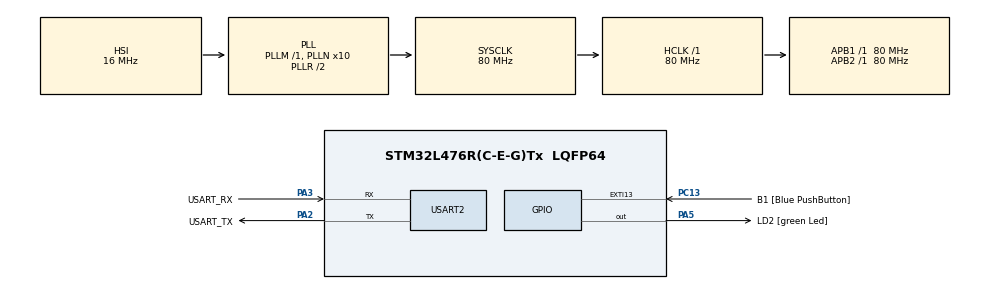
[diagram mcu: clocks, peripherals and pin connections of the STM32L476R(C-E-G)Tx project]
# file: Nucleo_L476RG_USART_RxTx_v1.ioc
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Mcu.Family=STM32L4
RCC.MSI_VALUE=4000000
RCC.PLLSourceVirtual=RCC_PLLSOURCE_HSI
PA14\ (JTCK-SWCLK).Mode=Serial_Wire
PA2.GPIO_PuPd=GPIO_NOPULL
RCC.CortexFreq_Value=80000000
PH0-OSC_IN\ (PH0).Signal=RCC_OSC_IN
PC13.Signal=GPXTI13
PA3.GPIO_PuPd=GPIO_NOPULL
PA2.GPIO_Speed=GPIO_SPEED_FREQ_VERY_HIGH
PC15-OSC32_OUT\ (PC15).Signal=RCC_OSC32_OUT
PC15-OSC32_OUT\ (PC15).Mode=LSE-External-Oscillator
PA14\ (JTCK-SWCLK).GPIO_Label=TCK
PB3\ (JTDO-TRACESWO).GPIO_Label=SWO
PC13.GPIO_Label=B1 [Blue PushButton]
PA3.GPIO_Speed=GPIO_SPEED_FREQ_VERY_HIGH
NVIC.USART2_IRQn=true\:0\:0\:false\:false\:true\:true\:true
PH1-OSC_OUT\ (PH1).Signal=RCC_OSC_OUT
RCC.SYSCLKSource=RCC_SYSCLKSOURCE_PLLCLK
ProjectManager.StackSize=0x400
PB3\ (JTDO-TRACESWO).Signal=SYS_JTDO-SWO
PC14-OSC32_IN\ (PC14).Mode=LSE-External-Oscillator
PA14\ (JTCK-SWCLK).Signal=SYS_JTCK-SWCLK
PA3.Mode=Asynchronous
ProjectManager.TargetToolchain=STM32CubeIDE
PA3.GPIO_Mode=GPIO_MODE_AF_PP
RCC.HCLKFreq_Value=80000000
RCC.APB2TimFreq_Value=80000000
RCC.USBFreq_Value=64000000
RCC.AHBFreq_Value=80000000
RCC.PREFETCH_ENABLE=1
PA5.Signal=GPIO_Output
RCC.HSE_VALUE=8000000
board=NUCLEO-L476RG
USART2.VirtualMode-Asynchronous=VM_ASYNC
RCC.VCOOutputFreq_Value=160000000
RCC.APB2Freq_Value=80000000
PA5.GPIO_ModeDefaultOutputPP=GPIO_MODE_OUTPUT_PP
PA13\ (JTMS-SWDIO).GPIO_Label=TMS
PA5.GPIO_PuPd=GPIO_NOPULL
RCC.ADCFreq_Value=64000000
PC13.GPIO_PuPd=GPIO_NOPULL
Mcu.Name=STM32L476R(C-E-G)Tx
PA2.Signal=USART2_TX
PA13\ (JTMS-SWDIO).Mode=Serial_Wire
RCC.SYSCLKFreq_VALUE=80000000
Mcu.Package=LQFP64
PA5.GPIO_Label=LD2 [green Led]
PC13.GPIO_ModeDefaultEXTI=GPIO_MODE_IT_FALLING
PC14-OSC32_IN\ (PC14).Signal=RCC_OSC32_IN
PA2.GPIO_Label=USART_TX
ProjectManager.HeapSize=0x200
RCC.HSI_VALUE=16000000
PA5.GPIO_Speed=GPIO_SPEED_FREQ_LOW
NVIC.PriorityGroup=NVIC_PRIORITYGROUP_4
RCC.PLLN=10
RCC.APB1TimFreq_Value=80000000
PA2.Mode=Asynchronous
PA13\ (JTMS-SWDIO).Signal=SYS_JTMS-SWDIO
RCC.APB1Freq_Value=80000000
PA3.GPIO_Label=USART_RX
PA3.Signal=USART2_RX
PA2.GPIO_Mode=GPIO_MODE_AF_PP

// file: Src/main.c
/* USER CODE BEGIN Header */
/**
 ******************************************************************************
 * @file           : main.c
 * @brief          : Main program body
 ******************************************************************************
 * @attention
 *
 * <h2><center>&copy; Copyright (c) 2020 STMicroelectronics.
 * All rights reserved.</center></h2>
 *
 * This software component is licensed by ST under BSD 3-Clause license,
 * the "License"; You may not use this file except in compliance with the
 * License. You may obtain a copy of the License at:
 *                        opensource.org/licenses/BSD-3-Clause
 *
 ******************************************************************************
 */
/* USER CODE END Header */
#include "main.h"

/* USER CODE BEGIN Includes */

#include <string.h>
#include <stdlib.h>
#include <stdio.h>
/* USER CODE END Includes */

/* USER CODE BEGIN PV */

uint8_t rxBuff[256];
uint8_t rxItr=0;
uint8_t rxInProgress=0;

/* USER CODE END PV */

void SystemClock_Config(void);
static void MX_GPIO_Init(void);
static void MX_USART2_UART_Init(void);

/* USER CODE BEGIN 0 */

// printf under freeRTOS
// https://github.com/leech001/STM32-FreeRTOS-float

//1. Remove the heap_4.c file from the
//\Middlewares\Third_Party\FreeRTOS\Source\portable\MemMang\ directory of your project
//2. Copy the heap_useNewlib.c file from the given repository (src) to the above directory;
//3. Open the FreeRTOS configuration file (FreeRTOSConfig.h) and add an additional define to the section;

// /* USER CODE BEGIN Defines */
// /* Section where parameter definitions can be added (for instance, to override default ones in FreeRTOS.h) */
// #define configUSE_NEWLIB_REENTRANT 1
// /* USER CODE END Defines */

#define PRINTF

int _write(int file, char *ptr, int len)
{
	for (uint8_t i=0; i<len; i++){
		LL_USART_TransmitData8(USART2, ptr[i]);
		while ( !LL_USART_IsActiveFlag_TXE(USART2) )
		{
		}
	}
	return len;
}

/* USER CODE END 0 */

int main(void)
{

	/* MCU Configuration--------------------------------------------------------*/

	/* Reset of all peripherals, Initializes the Flash interface and the Systick. */
	HAL_Init();

	/* Configure the system clock */
	SystemClock_Config();

	/* Initialize all configured peripherals */
	MX_GPIO_Init();
	MX_USART2_UART_Init();
	/* USER CODE BEGIN 2 */

	StartReception();

	/* USER CODE END 2 */

	/* Infinite loop */
	while (1)
	{

		/* USER CODE BEGIN 3 */
		if (!rxInProgress){
			printf("%s\n", rxBuff);
			rxInProgress=1;
			rxItr=0;
		}

	}
	/* USER CODE END 3 */
}

void SystemClock_Config(void)
{
	RCC_OscInitTypeDef RCC_OscInitStruct = {0};
	RCC_ClkInitTypeDef RCC_ClkInitStruct = {0};
	RCC_PeriphCLKInitTypeDef PeriphClkInit = {0};

	/** Initializes the RCC Oscillators according to the specified parameters
	 * in the RCC_OscInitTypeDef structure.
	 */
	RCC_OscInitStruct.OscillatorType = RCC_OSCILLATORTYPE_HSI;
	RCC_OscInitStruct.HSIState = RCC_HSI_ON;
	RCC_OscInitStruct.HSICalibrationValue = RCC_HSICALIBRATION_DEFAULT;
	RCC_OscInitStruct.PLL.PLLState = RCC_PLL_ON;
	RCC_OscInitStruct.PLL.PLLSource = RCC_PLLSOURCE_HSI;
	RCC_OscInitStruct.PLL.PLLM = 1;
	RCC_OscInitStruct.PLL.PLLN = 10;
	RCC_OscInitStruct.PLL.PLLP = RCC_PLLP_DIV7;
	RCC_OscInitStruct.PLL.PLLQ = RCC_PLLQ_DIV2;
	RCC_OscInitStruct.PLL.PLLR = RCC_PLLR_DIV2;
	if (HAL_RCC_OscConfig(&RCC_OscInitStruct) != HAL_OK)
	{
		Error_Handler();
	}
	/** Initializes the CPU, AHB and APB buses clocks
	 */
	RCC_ClkInitStruct.ClockType = RCC_CLOCKTYPE_HCLK|RCC_CLOCKTYPE_SYSCLK
			|RCC_CLOCKTYPE_PCLK1|RCC_CLOCKTYPE_PCLK2;
	RCC_ClkInitStruct.SYSCLKSource = RCC_SYSCLKSOURCE_PLLCLK;
	RCC_ClkInitStruct.AHBCLKDivider = RCC_SYSCLK_DIV1;
	RCC_ClkInitStruct.APB1CLKDivider = RCC_HCLK_DIV1;
	RCC_ClkInitStruct.APB2CLKDivider = RCC_HCLK_DIV1;

	if (HAL_RCC_ClockConfig(&RCC_ClkInitStruct, FLASH_LATENCY_4) != HAL_OK)
	{
		Error_Handler();
	}
	PeriphClkInit.PeriphClockSelection = RCC_PERIPHCLK_USART2;
	PeriphClkInit.Usart2ClockSelection = RCC_USART2CLKSOURCE_PCLK1;
	if (HAL_RCCEx_PeriphCLKConfig(&PeriphClkInit) != HAL_OK)
	{
		Error_Handler();
	}
	/** Configure the main internal regulator output voltage
	 */
	if (HAL_PWREx_ControlVoltageScaling(PWR_REGULATOR_VOLTAGE_SCALE1) != HAL_OK)
	{
		Error_Handler();
	}
}

static void MX_USART2_UART_Init(void)
{

	LL_USART_InitTypeDef USART_InitStruct = {0};

	LL_GPIO_InitTypeDef GPIO_InitStruct = {0};

	/* Peripheral clock enable */
	LL_APB1_GRP1_EnableClock(LL_APB1_GRP1_PERIPH_USART2);

	LL_AHB2_GRP1_EnableClock(LL_AHB2_GRP1_PERIPH_GPIOA);
	/**USART2 GPIO Configuration
  PA2   ------> USART2_TX
  PA3   ------> USART2_RX
	 */
	GPIO_InitStruct.Pin = LL_GPIO_PIN_2|LL_GPIO_PIN_3;
	GPIO_InitStruct.Mode = LL_GPIO_MODE_ALTERNATE;
	GPIO_InitStruct.Speed = LL_GPIO_SPEED_FREQ_VERY_HIGH;
	GPIO_InitStruct.OutputType = LL_GPIO_OUTPUT_PUSHPULL;
	GPIO_InitStruct.Pull = LL_GPIO_PULL_NO;
	GPIO_InitStruct.Alternate = LL_GPIO_AF_7;
	LL_GPIO_Init(GPIOA, &GPIO_InitStruct);

	/* USART2 interrupt Init */
	NVIC_SetPriority(USART2_IRQn, NVIC_EncodePriority(NVIC_GetPriorityGrouping(),0, 0));
	NVIC_EnableIRQ(USART2_IRQn);

	USART_InitStruct.BaudRate = 115200;
	USART_InitStruct.DataWidth = LL_USART_DATAWIDTH_8B;
	USART_InitStruct.StopBits = LL_USART_STOPBITS_1;
	USART_InitStruct.Parity = LL_USART_PARITY_NONE;
	USART_InitStruct.TransferDirection = LL_USART_DIRECTION_TX_RX;
	USART_InitStruct.HardwareFlowControl = LL_USART_HWCONTROL_NONE;
	USART_InitStruct.OverSampling = LL_USART_OVERSAMPLING_16;
	LL_USART_Init(USART2, &USART_InitStruct);
	LL_USART_ConfigAsyncMode(USART2);
	LL_USART_Enable(USART2);
	/* USER CODE BEGIN USART2_Init 2 */

	/* Polling USART initialisation */
	while((!(LL_USART_IsActiveFlag_TEACK(USART2))) || (!(LL_USART_IsActiveFlag_REACK(USART2))))
	{
	}

	/* USER CODE END USART2_Init 2 */

}

static void MX_GPIO_Init(void)
{
	GPIO_InitTypeDef GPIO_InitStruct = {0};

	/* GPIO Ports Clock Enable */
	__HAL_RCC_GPIOC_CLK_ENABLE();
	__HAL_RCC_GPIOH_CLK_ENABLE();
	__HAL_RCC_GPIOA_CLK_ENABLE();
	__HAL_RCC_GPIOB_CLK_ENABLE();

	/*Configure GPIO pin Output Level */
	HAL_GPIO_WritePin(LD2_GPIO_Port, LD2_Pin, GPIO_PIN_RESET);

	/*Configure GPIO pin : B1_Pin */
	GPIO_InitStruct.Pin = B1_Pin;
	GPIO_InitStruct.Mode = GPIO_MODE_IT_FALLING;
	GPIO_InitStruct.Pull = GPIO_NOPULL;
	HAL_GPIO_Init(B1_GPIO_Port, &GPIO_InitStruct);

	/*Configure GPIO pin : LD2_Pin */
	GPIO_InitStruct.Pin = LD2_Pin;
	GPIO_InitStruct.Mode = GPIO_MODE_OUTPUT_PP;
	GPIO_InitStruct.Pull = GPIO_NOPULL;
	GPIO_InitStruct.Speed = GPIO_SPEED_FREQ_LOW;
	HAL_GPIO_Init(LD2_GPIO_Port, &GPIO_InitStruct);

}

/* USER CODE BEGIN 4 */

/**
  * @brief  This function prints user info on PC com port and initiates RX transfer
  * @param  None
  * @retval None
  */
void StartReception(void)
{
	rxBuff[0]='\0';
	rxItr = 0;
	rxInProgress = 1;

  /* Clear Overrun flag, in case characters have already been sent to USART */
  LL_USART_ClearFlag_ORE(USART2);

  /* Enable RXNE and Error interrupts */
  LL_USART_EnableIT_RXNE(USART2);
  LL_USART_EnableIT_ERROR(USART2);
}

/**
 * @brief  Function called from USART IRQ Handler when RXNE flag is set
 *         Function is in charge of reading character received on USART RX line.
 * @param  None
 * @retval None
 */
void USART_CharReception_Callback(void)
{
	__IO uint8_t received_char;

	/* Read Received character. RXNE flag is cleared by reading of RDR register */
	received_char = LL_USART_ReceiveData8(USART2);

	/* Check if received value is corresponding to specific one : S or s */
	if ((received_char == 'S') || (received_char == 's'))
	{
		/* Turn LED2 On : Expected character has been received */
		// LED_On();
	}

	if(rxInProgress)
	{
		if ((received_char == '\r') || (received_char == '\n')){
			rxInProgress = 0;
			received_char = '\0';
		}
		rxBuff[rxItr++] = received_char;
	}

	/* Echo received character on TX */
	//LL_USART_TransmitData8(USART2, received_char);
}

/**
 * @brief  Function called in case of error detected in USART IT Handler
 * @param  None
 * @retval None
 */
void Error_Callback(void)
{

	while(1) { ; }

}

/* USER CODE END 4 */

void Error_Handler(void)
{
}

/************************ (C) COPYRIGHT STMicroelectronics *****END OF FILE****/
